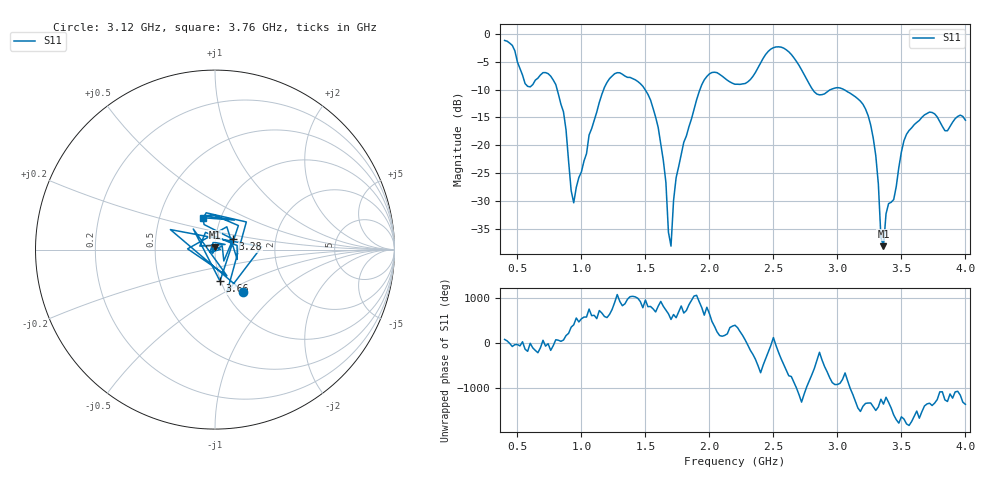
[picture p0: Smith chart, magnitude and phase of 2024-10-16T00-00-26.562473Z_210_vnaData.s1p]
! Created with skrf (http://scikit-rf.org).
# Hz S RI R 50.0
!freq ReS11 ImS11
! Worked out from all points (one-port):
!   181 points, 400 MHz to 4 GHz, reference 50 ohm
!   lowest |S11| = -38.2 dB at 3.36 GHz (marker M1), VSWR 1.02, Z = 50 + j1.23 ohm
!   |S11| at or under -10 dB: 810.5 MHz to 1.174 GHz (363.2 MHz wide, 36.6 % of centre); 1.497 GHz to 1.926 GHz (429.1 MHz wide, 25.1 % of centre); 3.05 GHz to end of sweep (the widest 3 of 4)
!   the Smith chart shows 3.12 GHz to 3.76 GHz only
!   S11 on the Smith chart (normalised r, x): 3.12 GHz: 1.21, -0.61; 3.28 GHz: 1.21, +0.14; 3.66 GHz: 0.99, -0.36; 3.76 GHz: 0.82, +0.30
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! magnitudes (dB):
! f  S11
! 400 MHz  -1.2
! 580 MHz  -9.4
! 760 MHz  -7.6
! 860 MHz  -14.0
! 940 MHz  -30.4
! 1.16 GHz  -10.9
! 1.3 GHz  -7.0
! 1.56 GHz  -13.4
! 1.64 GHz  -22.7
! 1.7 GHz  -38.2
! 1.72 GHz  -30.0
! 1.76 GHz  -23.9
! 1.96 GHz  -8.3
! 2.2 GHz  -9.0
! 2.5 GHz  -2.5
! 2.66 GHz  -4.3
! 2.84 GHz  -10.8
! 3.1 GHz  -10.7
! 3.12 GHz  -11.0
! 3.28 GHz  -18.7
! 3.32 GHz  -27.0
! 3.34 GHz  -36.6
! 3.36 GHz  -38.2
! 3.38 GHz  -32.3
! 3.56 GHz  -17.4
! 3.66 GHz  -15.0
! 3.76 GHz  -14.4
! 4 GHz  -15.5
